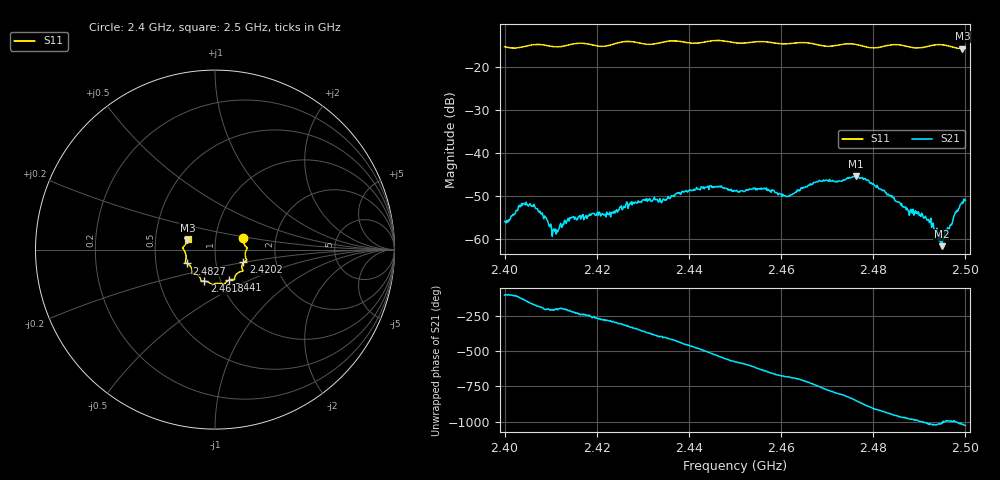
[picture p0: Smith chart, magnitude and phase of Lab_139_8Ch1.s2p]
# Hz S RI R 50
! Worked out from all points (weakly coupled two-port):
!   601 points, 2.4 GHz to 2.5 GHz, reference 50 ohm
!   highest |S21| = -45.49 dB at 2.4762 GHz (marker M1); lowest = -61.7 dB at 2.4948 GHz (marker M2)
!   lowest |S11| = -15.8 dB at 2.4993 GHz (marker M3), VSWR 1.39, Z = 36.5 + j3.85 ohm
!   |S11| at or under -10 dB: start of sweep to end of sweep
!   S12 and S22 are empty: the file has one direction only
!   S11 on the Smith chart (normalised r, x): 2.4 GHz: 1.36, +0.18; 2.4202 GHz: 1.36, -0.20; 2.441 GHz: 1.10, -0.39; 2.4618 GHz: 0.84, -0.30; 2.4827 GHz: 0.72, -0.12; 2.5 GHz: 0.73, +0.09
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2.4e9  0.1584 0.0629  -0.000398 -0.00154  0 0  0 0
2.404167e9  0.17 0.0185  -0.00185 -0.0018  0 0  0 0
2.406667e9  0.1804 0.00957  -0.00226 -0.000227  0 0  0 0
2.410833e9  0.1697 -0.0143  -0.00111 0.000537  0 0  0 0
2.414167e9  0.173 -0.0506  -0.00152 0.000914  0 0  0 0
2.416667e9  0.1772 -0.061  -0.000922 0.0016  0 0  0 0
2.420167e9  0.1586 -0.0712  -5.63e-05 0.00204  0 0  0 0
2.430333e9  0.1333 -0.1262  0.00281 4.07e-06  0 0  0 0
2.433333e9  0.1115 -0.1506  0.00228 -0.00143  0 0  0 0
2.441e9  0.0788 -0.1698  -0.00129 -0.00343  0 0  0 0
2.4465e9  0.0489 -0.1952  -0.00407 -0.000153  0 0  0 0
2.45e9  0.0284 -0.1875  -0.00296 0.00206  0 0  0 0
2.456333e9  -0.0172 -0.1945  0.000435 0.00387  0 0  0 0
2.461833e9  -0.0592 -0.1755  0.00249 0.00189  0 0  0 0
2.466667e9  -0.0789 -0.1684  0.00424 -0.000715  0 0  0 0
2.476167e9  -0.1274 -0.1295  -0.0033 -0.00416  0 0  0 0
2.482667e9  -0.1561 -0.0773  -0.00288 0.0019  0 0  0 0
2.483333e9  -0.1606 -0.0751  -0.00252 0.00213  0 0  0 0
2.492e9  -0.1729 -0.00215  0.000705 0.00153  0 0  0 0
2.494833e9  -0.1792 0.012  0.000234 0.000789  0 0  0 0
2.499333e9  -0.154 0.0513  0.00122 0.00238  0 0  0 0
2.5e9  -0.1523 0.0606  0.00166 0.00229  0 0  0 0
